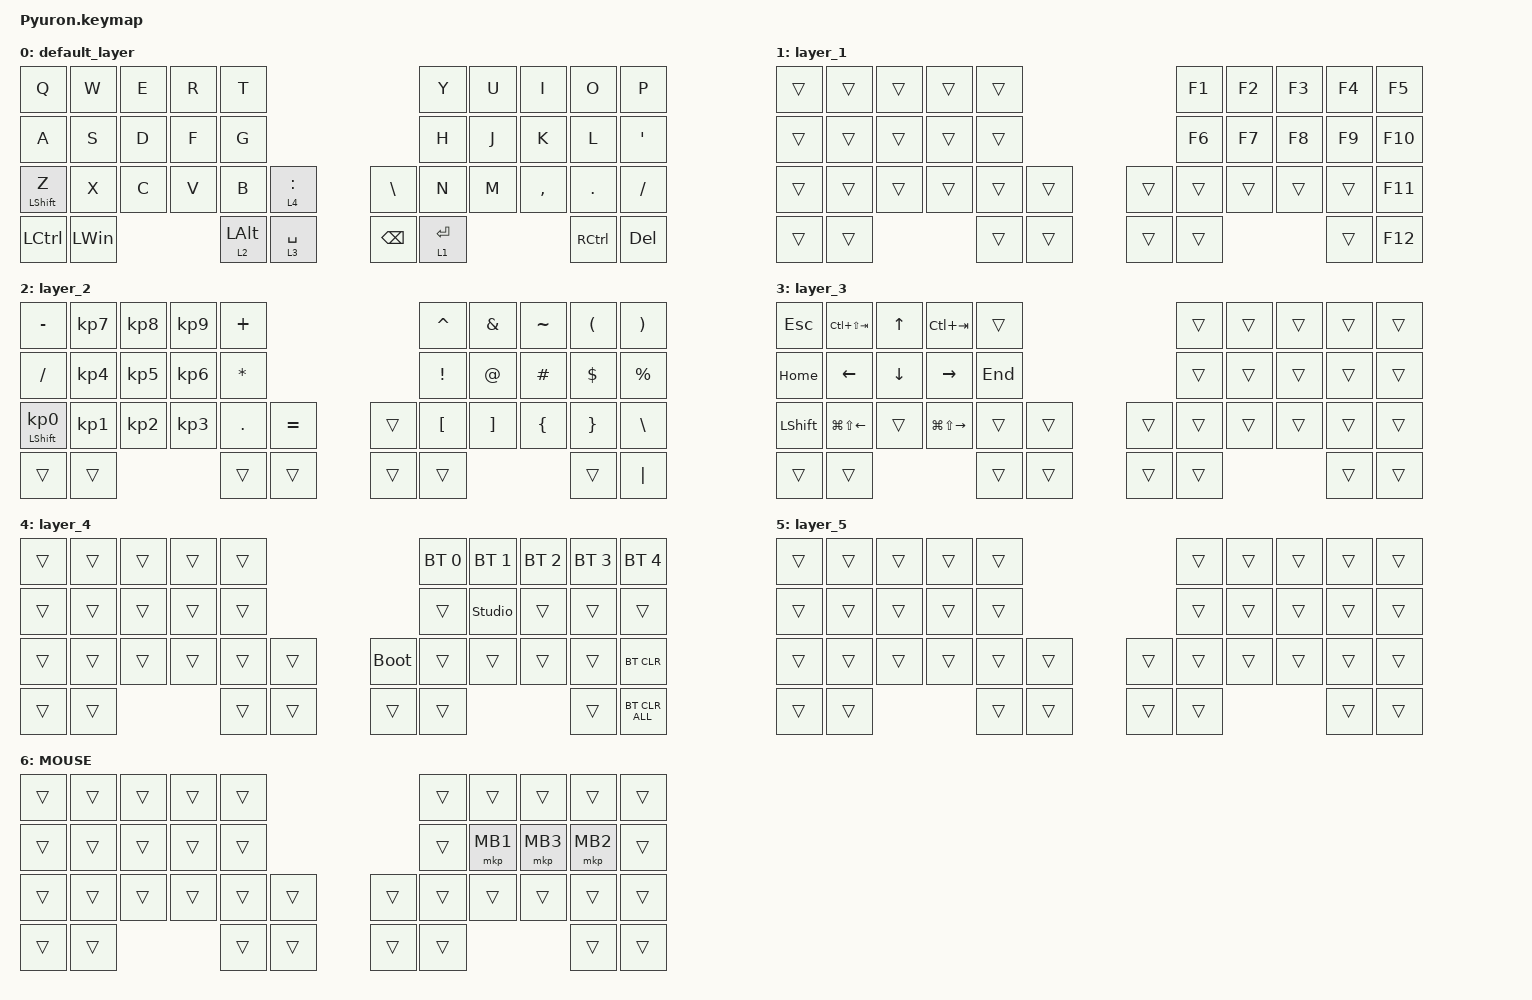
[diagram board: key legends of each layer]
#include <input/processors.dtsi>
#include <dt-bindings/zmk/input_transform.h>
#include <zephyr/dt-bindings/input/input-event-codes.h>
#include <behaviors.dtsi>
#include <dt-bindings/zmk/bt.h>
#include <dt-bindings/zmk/keys.h>
#include <dt-bindings/zmk/pointing.h>

#define ZMK_POINTING_DEFAULT_SCRL_VAL 100
#define MOUSE 5
#define SCROLL 6

&mt {
    flavor = "balanced";
    quick-tap-ms = <0>;
};

&lt {
    quick-tap-ms = <300>;
    flavor = "balanced";
};

/ {
    combos {
        compatible = "zmk,combos";

        layer4_ESC {
            bindings = <&lt 4 ESC>;
            key-positions = <39 38>;
        };

        tab {
            bindings = <&kp TAB>;
            key-positions = <11 12>;
        };
    };

    macros {
        to_layer_0: to_layer_0 {
            compatible = "zmk,behavior-macro-one-param";
            #binding-cells = <1>;
            bindings = <&to 0 &macro_param_1to1 &kp MACRO_PLACEHOLDER>;
            label = "TO_LAYER_0";
        };
    };

    behaviors {
        lt_to_layer_0: lt_to_layer_0 {
            compatible = "zmk,behavior-hold-tap";
            label = "LAYER_TAP_TO_0";
            bindings = <&mo>, <&to_layer_0>;

            #binding-cells = <2>;
            tapping-term-ms = <200>;
        };

        scroll_up_down: mouse_wheel_up_down {
            compatible = "zmk,behavior-sensor-rotate";
            #sensor-binding-cells = <0>;
            bindings = <&msc SCRL_DOWN>, <&msc SCRL_UP>;

            tap-ms = <20>;
        };

        scroll_right_left: mouse_wheel_right_left {
            compatible = "zmk,behavior-sensor-rotate";
            #sensor-binding-cells = <0>;
            bindings = <&msc SCRL_LEFT>, <&msc SCRL_RIGHT>;

            tap-ms = <20>;
        };
    };

    keymap {
        compatible = "zmk,keymap";

        default_layer {
            bindings = <
&kp Q             &kp W      &kp E      &kp R         &kp T           &kp Y        &kp U          &kp I        &kp O              &kp P
&kp A             &kp S      &kp D      &kp F         &kp G           &kp H        &kp J          &kp K        &kp L              &kp SQT
&mt LEFT_SHIFT Z  &kp X      &kp C      &kp V         &kp B           &lt 4 COLON  &kp BACKSLASH  &kp N        &kp M              &kp COMMA
&kp DOT           &kp SLASH  &kp LCTRL  &kp LEFT_WIN  &lt 2 LEFT_ALT  &lt 3 SPACE  &kp BACKSPACE  &lt 1 ENTER  &kp RIGHT_CONTROL  &kp DEL
            >;
        };

        layer_1 {
            bindings = <
&trans  &trans   &trans  &trans  &trans  &kp F1  &kp F2  &kp F3  &kp F4  &kp F5
&trans  &trans   &trans  &trans  &trans  &kp F6  &kp F7  &kp F8  &kp F9  &kp F10
&trans  &trans   &trans  &trans  &trans  &trans  &trans  &trans  &trans  &trans
&trans  &kp F11  &trans  &trans  &trans  &trans  &trans  &trans  &trans  &kp F12
            >;
        };

        layer_2 {
            bindings = <
&kp MINUS                   &kp KP_NUMBER_7  &kp KP_NUMBER_8  &kp KP_NUMBER_9  &kp PLUS      &kp CARET        &kp AMPERSAND  &kp TILDE         &kp LEFT_PARENTHESIS  &kp RIGHT_PARENTHESIS
&kp SLASH                   &kp KP_NUMBER_4  &kp KP_NUMBER_5  &kp KP_NUMBER_6  &kp ASTERISK  &kp EXCLAMATION  &kp AT_SIGN    &kp HASH          &kp DOLLAR            &kp PERCENT
&mt LEFT_SHIFT KP_NUMBER_0  &kp KP_NUMBER_1  &kp KP_NUMBER_2  &kp KP_NUMBER_3  &kp PERIOD    &kp EQUAL        &trans         &kp LEFT_BRACKET  &kp RIGHT_BRACKET     &kp LEFT_BRACE
&kp RIGHT_BRACE             &kp BACKSLASH    &trans           &trans           &trans        &trans           &trans         &trans            &trans                &kp PIPE
            >;
        };

        layer_3 {
            bindings = <
&kp ESCAPE      &kp LC(LS(TAB))         &kp UP_ARROW    &kp LC(TAB)              &trans   &trans  &trans  &trans  &trans  &trans
&kp HOME        &kp LEFT_ARROW          &kp DOWN_ARROW  &kp RIGHT_ARROW          &kp END  &trans  &trans  &trans  &trans  &trans
&kp LEFT_SHIFT  &kp LG(LS(LEFT_ARROW))  &trans          &kp LG(LS(RIGHT_ARROW))  &trans   &trans  &trans  &trans  &trans  &trans
&trans          &trans                  &trans          &trans                   &trans   &trans  &trans  &trans  &trans  &trans
            >;
        };

        layer_4 {
            bindings = <
&trans  &trans      &trans  &trans  &trans  &bt BT_SEL 0  &bt BT_SEL 1  &bt BT_SEL 2  &bt BT_SEL 3  &bt BT_SEL 4
&trans  &trans      &trans  &trans  &trans  &trans        &studio_unlock        &trans        &trans        &trans
&trans  &trans      &trans  &trans  &trans  &trans        &bootloader   &trans        &trans        &trans
&trans  &bt BT_CLR  &trans  &trans  &trans  &trans        &trans        &trans        &trans        &bt BT_CLR_ALL
            >;
        };

        layer_5 {
            bindings = <
&trans  &trans  &trans  &trans  &trans  &trans  &trans  &trans  &trans  &trans
&trans  &trans  &trans  &trans  &trans  &trans  &trans  &trans  &trans  &trans
&trans  &trans  &trans  &trans  &trans  &trans  &trans  &trans  &trans  &trans
&trans  &trans  &trans  &trans  &trans  &trans  &trans  &trans  &trans  &trans
            >;
        };

        MOUSE {
            bindings = <
&trans  &trans  &trans  &trans  &trans  &trans  &trans    &trans    &trans    &trans
&trans  &trans  &trans  &trans  &trans  &trans  &mkp MB1  &mkp MB3  &mkp MB2  &trans
&trans  &trans  &trans  &trans  &trans  &trans  &trans    &trans    &trans    &trans
&trans  &trans  &trans  &trans  &trans  &trans  &trans    &trans    &trans    &trans
            >;
        };
    };
};
